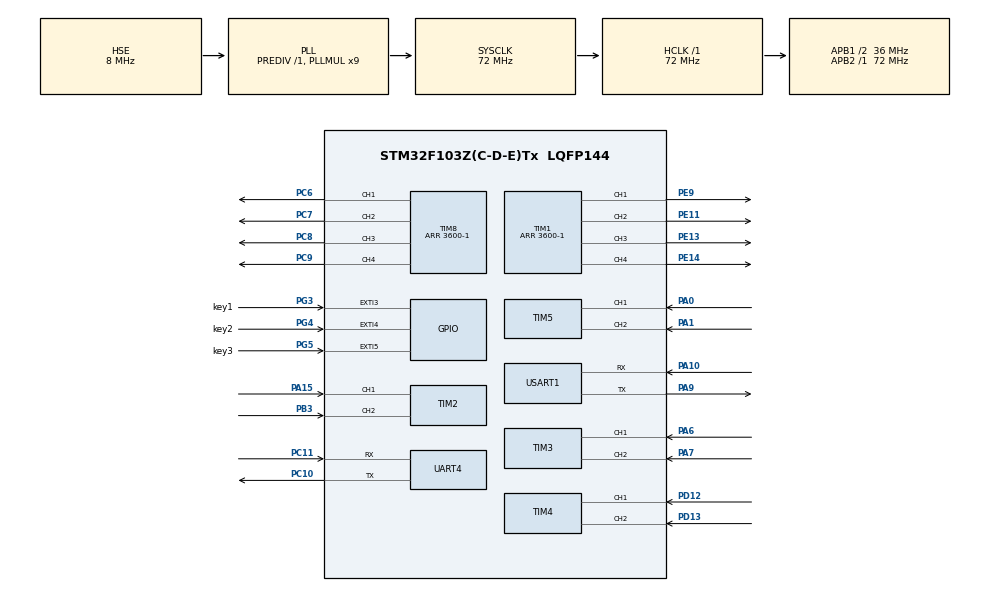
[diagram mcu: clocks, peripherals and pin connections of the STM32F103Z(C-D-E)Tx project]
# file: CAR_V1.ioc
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Mcu.Family=STM32F1
Mcu.Name=STM32F103Z(C-D-E)Tx
Mcu.Package=LQFP144
NVIC.EXTI3_IRQn=true\:0\:0\:false\:false\:true\:true\:true\:true
NVIC.EXTI4_IRQn=true\:0\:0\:false\:false\:true\:true\:true\:true
NVIC.EXTI9_5_IRQn=true\:0\:0\:false\:false\:true\:true\:true\:true
NVIC.PriorityGroup=NVIC_PRIORITYGROUP_4
NVIC.UART4_IRQn=true\:0\:0\:false\:false\:true\:true\:true\:true
NVIC.USART1_IRQn=true\:0\:0\:false\:false\:true\:true\:true\:true
OSC_IN.Mode=HSE-External-Oscillator
OSC_IN.Signal=RCC_OSC_IN
OSC_OUT.Mode=HSE-External-Oscillator
OSC_OUT.Signal=RCC_OSC_OUT
PA0-WKUP.Signal=S_TIM5_CH1
PA1.Signal=S_TIM5_CH2
PA10.Mode=Asynchronous
PA10.Signal=USART1_RX
PA13.Mode=Serial_Wire
PA13.Signal=SYS_JTMS-SWDIO
PA14.Mode=Serial_Wire
PA14.Signal=SYS_JTCK-SWCLK
PA15.Signal=S_TIM2_CH1_ETR
PA6.Signal=S_TIM3_CH1
PA7.Signal=S_TIM3_CH2
PA9.Mode=Asynchronous
PA9.Signal=USART1_TX
PB3.Signal=S_TIM2_CH2
PC10.Mode=Asynchronous
PC10.Signal=UART4_TX
PC11.Mode=Asynchronous
PC11.Signal=UART4_RX
PC6.Signal=S_TIM8_CH1
PC7.Signal=S_TIM8_CH2
PC8.Signal=S_TIM8_CH3
PC9.Signal=S_TIM8_CH4
PD12.Signal=S_TIM4_CH1
PD13.Signal=S_TIM4_CH2
PE11.Signal=S_TIM1_CH2
PE13.Signal=S_TIM1_CH3
PE14.Signal=S_TIM1_CH4
PE9.Signal=S_TIM1_CH1
PG3.GPIO_Label=key1
PG3.Signal=GPXTI3
PG4.GPIO_Label=key2
PG4.Signal=GPXTI4
PG5.GPIO_Label=key3
PG5.Signal=GPXTI5
ProjectManager.HeapSize=0x200
ProjectManager.StackSize=0x400
ProjectManager.TargetToolchain=STM32CubeIDE
RCC.AHBFreq_Value=72000000
RCC.APB1CLKDivider=RCC_HCLK_DIV2
RCC.APB1Freq_Value=36000000
RCC.APB1TimFreq_Value=72000000
RCC.APB2Freq_Value=72000000
RCC.APB2TimFreq_Value=72000000
RCC.HCLKFreq_Value=72000000
RCC.PLLMUL=RCC_PLL_MUL9
RCC.PLLSourceVirtual=RCC_PLLSOURCE_HSE
RCC.SYSCLKFreq_VALUE=72000000
RCC.SYSCLKSource=RCC_SYSCLKSOURCE_PLLCLK
RCC.USBFreq_Value=72000000
SH.S_TIM1_CH1.0=TIM1_CH1,PWM Generation1 CH1
SH.S_TIM1_CH2.0=TIM1_CH2,PWM Generation2 CH2
SH.S_TIM1_CH3.0=TIM1_CH3,PWM Generation3 CH3
SH.S_TIM1_CH4.0=TIM1_CH4,PWM Generation4 CH4
SH.S_TIM2_CH1_ETR.0=TIM2_CH1,Encoder_Interface
SH.S_TIM2_CH2.0=TIM2_CH2,Encoder_Interface
SH.S_TIM3_CH1.0=TIM3_CH1,Encoder_Interface
SH.S_TIM3_CH2.0=TIM3_CH2,Encoder_Interface
SH.S_TIM4_CH1.0=TIM4_CH1,Encoder_Interface
SH.S_TIM4_CH2.0=TIM4_CH2,Encoder_Interface
SH.S_TIM5_CH1.0=TIM5_CH1,Encoder_Interface
SH.S_TIM5_CH2.0=TIM5_CH2,Encoder_Interface
SH.S_TIM8_CH1.0=TIM8_CH1,PWM Generation1 CH1
SH.S_TIM8_CH2.0=TIM8_CH2,PWM Generation2 CH2
SH.S_TIM8_CH3.0=TIM8_CH3,PWM Generation3 CH3
SH.S_TIM8_CH4.0=TIM8_CH4,PWM Generation4 CH4
TIM1.AutoReloadPreload=TIM_AUTORELOAD_PRELOAD_ENABLE
TIM1.Channel-PWM\ Generation1\ CH1=TIM_CHANNEL_1
TIM1.Channel-PWM\ Generation2\ CH2=TIM_CHANNEL_2
TIM1.Channel-PWM\ Generation3\ CH3=TIM_CHANNEL_3
TIM1.Channel-PWM\ Generation4\ CH4=TIM_CHANNEL_4
TIM1.Period=3600-1
TIM2.EncoderMode=TIM_ENCODERMODE_TI12
TIM3.EncoderMode=TIM_ENCODERMODE_TI12
TIM4.EncoderMode=TIM_ENCODERMODE_TI12
TIM5.EncoderMode=TIM_ENCODERMODE_TI12
TIM8.AutoReloadPreload=TIM_AUTORELOAD_PRELOAD_ENABLE
TIM8.Channel-PWM\ Generation1\ CH1=TIM_CHANNEL_1
TIM8.Channel-PWM\ Generation2\ CH2=TIM_CHANNEL_2
TIM8.Channel-PWM\ Generation3\ CH3=TIM_CHANNEL_3
TIM8.Channel-PWM\ Generation4\ CH4=TIM_CHANNEL_4
TIM8.Period=3600-1
UART4.VirtualMode=Asynchronous
USART1.VirtualMode=VM_ASYNC
VP_TIM1_VS_ClockSourceINT.Mode=Internal
VP_TIM8_VS_ClockSourceINT.Mode=Internal
board=custom

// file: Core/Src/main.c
/* USER CODE BEGIN Header */
/**
  ******************************************************************************
  * @file           : main.c
  * @brief          : Main program body
  ******************************************************************************
  * @attention
  *
  * Copyright (c) 2026 STMicroelectronics.
  * All rights reserved.
  *
  * This software is licensed under terms that can be found in the LICENSE file
  * in the root directory of this software component.
  * If no LICENSE file comes with this software, it is provided AS-IS.
  *
  ******************************************************************************
  */
/* USER CODE END Header */
#include "main.h"
#include "tim.h"
#include "usart.h"
#include "gpio.h"
#include "follow.h"

/* USER CODE BEGIN Includes */
#include "bsp.h"
/* USER CODE END Includes */

void SystemClock_Config(void);

int main(void)
{

  /* MCU Configuration--------------------------------------------------------*/

  /* Reset of all peripherals, Initializes the Flash interface and the Systick. */
  HAL_Init();

  /* Configure the system clock */
  SystemClock_Config();

  /* Initialize all configured peripherals */
  MX_GPIO_Init();
  MX_TIM1_Init();
  MX_TIM2_Init();
  MX_TIM3_Init();
  MX_TIM4_Init();
  MX_TIM5_Init();
  MX_TIM8_Init();
  MX_USART1_UART_Init();
  MX_UART4_Init();
  /* USER CODE BEGIN 2 */
  BSP_Init();
  /* USER CODE END 2 */

  /* Infinite loop */
  /* USER CODE BEGIN WHILE */
  extern volatile uint8_t car_start_flag;
  extern motor_data_t motor_data;

  /*int step = 0;
  	    uint32_t last_time = 0;
  	    uint32_t current_time = 0;
  	   int speed = 300;*/

  /* ---- USART2 体检 ---- */
  USART4_UART_Init();
  USART1_UART_Init();
  Follow_Init();

  	    	    while (1)
  	    	    {

  	    	    	static uint32_t t10 = 0;                //十秒节拍器

  	    	    	    if ((uint32_t)(HAL_GetTick() - t10) >= 10)
  	    	    	    {
  	    	    	        t10 = HAL_GetTick();
  	    	    	        Motion_Handle();          /* ← 运动控制心跳，10ms 一次 */
  	    	    	      if (car_start_flag == 1) Line_Update();          /* ← 换成巡线，不再用 Follow_Update */
  	    	    	          else Motion_Set_Speed(0, 0, 0, 0);
  	    	    	    }

  	    	    	static uint32_t dbg = 0;
  	    	    	if (HAL_GetTick() - dbg >= 500)
  	    	    	{
  	    	    	    dbg = HAL_GetTick();
  	    	    	    printf("cnt=%u frames=%u dx=%d dy=%d w=%d f=%d flag=%d \r\n",
  	    	    	           (unsigned)g_k210_cnt, (unsigned)g_t_frames,
  	    	    	           g_t_dx, g_t_dy,g_t_w, g_t_found, car_start_flag);
  	    	    	  printf("dx=%d dy=%d f=%d flag=%d  pwm=%d,%d,%d,%d\r\n",
  	    	    	         g_t_dx, g_t_dy, g_t_found, car_start_flag,
  	    	    	         (int)motor_data.speed_pwm[0], (int)motor_data.speed_pwm[1],
  	    	    	         (int)motor_data.speed_pwm[2], (int)motor_data.speed_pwm[3]);
  	    	    	  printf("mh=%d\r\n", (unsigned)g_mh_cnt);

  	    	    	}
  	    	        USART_Process();
  	    	        K210_Update();

  	    	    }

    /* USER CODE END WHILE */

}

void SystemClock_Config(void)
{
  RCC_OscInitTypeDef RCC_OscInitStruct = {0};
  RCC_ClkInitTypeDef RCC_ClkInitStruct = {0};

  /** Initializes the RCC Oscillators according to the specified parameters
  * in the RCC_OscInitTypeDef structure.
  */
  RCC_OscInitStruct.OscillatorType = RCC_OSCILLATORTYPE_HSE;
  RCC_OscInitStruct.HSEState = RCC_HSE_ON;
  RCC_OscInitStruct.HSEPredivValue = RCC_HSE_PREDIV_DIV1;
  RCC_OscInitStruct.HSIState = RCC_HSI_ON;
  RCC_OscInitStruct.PLL.PLLState = RCC_PLL_ON;
  RCC_OscInitStruct.PLL.PLLSource = RCC_PLLSOURCE_HSE;
  RCC_OscInitStruct.PLL.PLLMUL = RCC_PLL_MUL9;
  if (HAL_RCC_OscConfig(&RCC_OscInitStruct) != HAL_OK)
  {
    Error_Handler();
  }

  /** Initializes the CPU, AHB and APB buses clocks
  */
  RCC_ClkInitStruct.ClockType = RCC_CLOCKTYPE_HCLK|RCC_CLOCKTYPE_SYSCLK
                              |RCC_CLOCKTYPE_PCLK1|RCC_CLOCKTYPE_PCLK2;
  RCC_ClkInitStruct.SYSCLKSource = RCC_SYSCLKSOURCE_PLLCLK;
  RCC_ClkInitStruct.AHBCLKDivider = RCC_SYSCLK_DIV1;
  RCC_ClkInitStruct.APB1CLKDivider = RCC_HCLK_DIV2;
  RCC_ClkInitStruct.APB2CLKDivider = RCC_HCLK_DIV1;

  if (HAL_RCC_ClockConfig(&RCC_ClkInitStruct, FLASH_LATENCY_2) != HAL_OK)
  {
    Error_Handler();
  }
}

void Error_Handler(void)
{
  __disable_irq();
  while (1)
  {
  }
}
